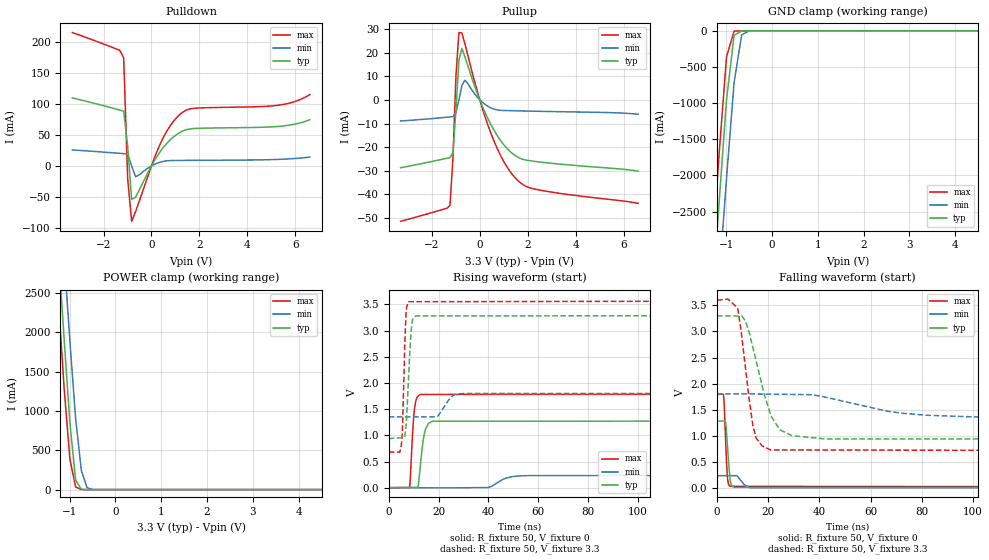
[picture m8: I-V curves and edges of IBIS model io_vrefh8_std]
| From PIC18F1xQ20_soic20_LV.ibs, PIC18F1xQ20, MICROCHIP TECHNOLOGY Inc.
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[Model] io_vrefh8_std
Model_type I/O
Vinl  =  0.8
Vinh  =  2
| Capacitance   typ   min   max
C_comp   4.791778768558451e-12   4.779455766126075e-12   5.038339710819947e-12
[Model Spec]
| Subparameter   typ   min   max
Vinl   1.5   0.81   1.65
Vinh   3.6   1.89   3.85
Vmeas   2.5   1.35   2.75
| Variables   typ   min   max
[GND Clamp Reference]   0   0   0
[POWER Clamp Reference]   3.3   1.8   3.6
[Pulldown Reference]   0   0   0
[Pullup Reference]   3.3   1.8   3.6
[Temperature Range]   25   125   -40
[Voltage Range]   3.3   1.8   3.6
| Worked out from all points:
|   slope of the pulldown table from 0 to 0.495 V, typ, clamps not added: 16.7 ohm
|   slope of the pullup table from 0 to 0.495 V, typ, clamps not added: 44.8 ohm
|   GND clamp passes 1 mA (typ) near -0.66 V on its own axis
|   POWER clamp passes 1 mA (typ) near -0.65 V on its own axis
|   falling waveform, R_fixture 50, V_fixture 0: 20-80 % time 1.17ns typ, 2.49ns min, 917ps max; typ from 1.28 V to 0 V
|   falling waveform, R_fixture 50, V_fixture 3.3: 20-80 % time 7.57ns typ, 25.8ns min, 4.41ns max; typ from 3.3 V to 0.936 V
|   rising waveform, R_fixture 50, V_fixture 0: 20-80 % time 1.92ns typ, 5.27ns min, 1.33ns max; typ from 0 V to 1.28 V
|   rising waveform, R_fixture 50, V_fixture 3.3: 20-80 % time 1.49ns typ, 3.86ns min, 1.07ns max; typ from 0.936 V to 3.3 V
[GND Clamp]
| Voltage   I(typ)   I(min)   I(max)
-3.3V     -21.91A    -22.19A    -21.78A
-1.324V   -3.909A    -4.914A    -3.278A
-1.159V   -2.411A    -3.476A    -1.739A
-993.1mV  -956.7mA   -2.045A    -361.5mA
-827.6mV  -63.16mA   -715.6mA   -3.815mA
-662.1mV  -771.9uA   -54.27mA   -476.9uA
-496.6mV  -18.17uA   -719.5uA   -5.006uA
6.6V      0A         0A         0A
[POWER Clamp]
| Voltage   I(typ)   I(min)   I(max)
-3.3V     21.48A     21.8A      21.33A
-1.366V   4.118A     5.086A     3.518A
-1.241V   3.004A     4.014A     2.376A
-1.117V   1.891A     2.941A     1.268A
-993.1mV  844.7mA    1.878A     384.1mA
-869mV    120.2mA    905.4mA    32.61mA
-744.8mV  3.111mA    245mA      1.387mA
-620.7mV  347.3uA    25.54mA    378.5uA
-496.6mV  24.89uA    1.111mA    41.86uA
6.6V      0A         0A         0A
[Pulldown]
| Voltage   I(typ)   I(min)   I(max)
-3.3V     109.4mA    25.68mA    214.5mA
-1.324V   89.88mA    20.27mA    185.9mA
-1.159V   88.12mA    19.77mA    173.8mA
-993.1mV  31.88mA    19.25mA    -20.25mA
-827.6mV  -53.52mA   -38.8uA    -89.02mA
-662.1mV  -50.57mA   -17.43mA   -73.42mA
341.4mV   21.7mA     5.717mA    33.47mA
796.6mV   42.57mA    8.672mA    65.49mA
1.252V    55.15mA    8.913mA    85mA
1.821V    60.27mA    9.023mA    92.84mA
5.286V    63.53mA    10.51mA    97.64mA
6.6V      74.27mA    14.23mA    114.7mA
[Pullup]
| Voltage   I(typ)   I(min)   I(max)
-3.3V     -28.7mA    -8.942mA   -51.33mA
-1.241V   -24.41mA   -7.199mA   -44.6mA
-1.117V   -22.37mA   -7.062mA   -24.69mA
-993.1mV  -4.232mA   -5.311mA   10.1mA
-869mV    16.63mA    -60.72uA   28.44mA
-744.8mV  21.75mA    6.171mA    28.29mA
-620.7mV  18.28mA    8.311mA    23.71mA
455.2mV   -10.29mA   -3.355mA   -13.89mA
1.024V    -19.27mA   -4.499mA   -26.48mA
1.593V    -24.26mA   -4.657mA   -34.17mA
2.503V    -26.27mA   -4.856mA   -38.14mA
6.6V      -30.13mA   -6.092mA   -43.74mA
[Ramp]
dV/dt_r   0.768807/1.92178n  0.139528/5.27037n  1.07649/1.32696n
dV/dt_f   1.41823/7.56889n  0.268061/25.8066n  1.75309/4.41343n
R_load = 50
[Falling Waveform]
R_fixture = 50
V_fixture = 0
V_fixture_min = 0
V_fixture_max = 0
| Time   V(typ)   V(min)   V(max)
0s        1.281V     232.5mV    1.794V
2.492ns   1.284V     233.1mV    1.796V
2.808ns   1.284V     233.2mV    1.593V
3.356ns   1.264V     233.3mV    917.9mV
3.912ns   915.9mV    233.4mV    301.8mV
4.95ns    245.2mV    233.6mV    29.12mV
5.564ns   54.25mV    233.8mV    29.09mV
6.631ns   10.15mV    234mV      29.03mV
13.42ns   10.03mV    2.697mV    28.68mV
562.5ns   44.08nV    28.33nV    23.98nV
[Falling Waveform]
R_fixture = 50
V_fixture = 3.3
V_fixture_min = 1.8
V_fixture_max = 3.6
| Time   V(typ)   V(min)   V(max)
0s        3.3V       1.8V       3.6V
8.053ns   3.297V     1.802V     3.453V
11.05ns   3.204V     1.803V     2.323V
14.02ns   2.687V     1.802V     1.185V
15.29ns   2.431V     1.801V     954.1mV
20.91ns   1.406V     1.798V     727.7mV
29.34ns   1V         1.792V     727mV
41.91ns   940.2mV    1.744V     725.8mV
100.9ns   939.8mV    1.361V     720.4mV
562.5ns   936.3mV    1.353V     678.2mV
[Rising Waveform]
R_fixture = 50
V_fixture = 0
V_fixture_min = 0
V_fixture_max = 0
| Time   V(typ)   V(min)   V(max)
0s        -40.76pV   16.38nV    -61.34pV
8.357ns   4.713mV    -1.115mV   3.627mV
10.27ns   5.793mV    -1.37mV    1.48V
11.68ns   6.59mV     -1.559mV   1.743V
12.65ns   394.1mV    -1.688mV   1.78V
14.76ns   1.117V     -1.97mV    1.781V
17.5ns    1.268V     -2.335mV   1.781V
39.87ns   1.269V     2.502mV    1.781V
56.34ns   1.269V     231.5mV    1.782V
562.5ns   1.281V     232.5mV    1.794V
[Rising Waveform]
R_fixture = 50
V_fixture = 3.3
V_fixture_min = 1.8
V_fixture_max = 3.6
| Time   V(typ)   V(min)   V(max)
0s        936.3mV    1.353V     678.2mV
5.044ns   955.5mV    1.353V     800.8mV
5.629ns   957.7mV    1.353V     1.289V
6.914ns   1.163V     1.353V     3.306V
7.88ns    2.016V     1.353V     3.55V
9.23ns    3.109V     1.353V     3.55V
10.79ns   3.279V     1.353V     3.55V
19.12ns   3.279V     1.353V     3.551V
30.53ns   3.28V      1.798V     3.552V
562.5ns   3.3V       1.8V       3.6V
